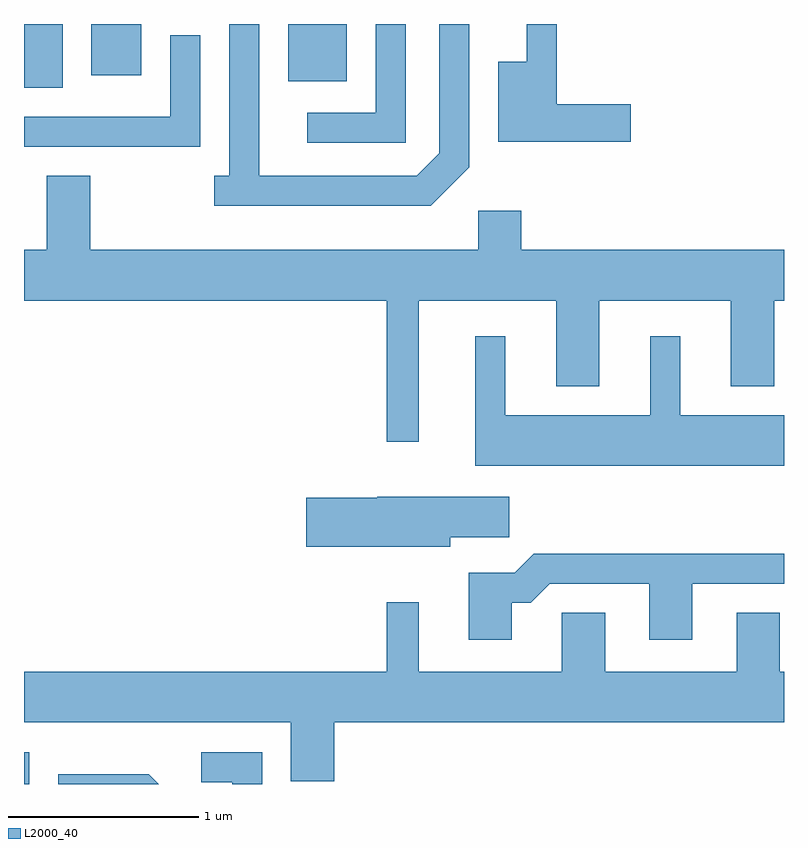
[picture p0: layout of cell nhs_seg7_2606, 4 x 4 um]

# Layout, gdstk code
import gdstk
lib = gdstk.Library(unit=1e-6, precision=1e-09)
def R(c, l, rs):  # rectangles x0, y0, x1, y1
    for r in rs: c.add(gdstk.rectangle(r[:2], r[2:], *l))
def P(c, l, *ps):  # polygons
    for p in ps: c.add(gdstk.Polygon(p, *l))
L2000_40 = (2000, 40)

nhs_seg7_2606 = lib.new_cell('nhs_seg7_2606')
R(nhs_seg7_2606, L2000_40, [(265.611,1676.252,265.639,1676.419), (265.611,1679.916,265.814,1680.252), (267.001,1679.951,267.309,1680.252), (265.966,1679.981,266.229,1680.252)])
P(nhs_seg7_2606, L2000_40, [(267.619,1680.252),(267.461,1680.252),(267.461,1679.784),(267.103,1679.784),(267.103,1679.626),(267.619,1679.626)],
  [(268.804,1679.829),(268.414,1679.829),(268.414,1680.252),(268.256,1680.252),(268.256,1680.054),(268.106,1680.054),(268.106,1679.631),(268.804,1679.631)],
  [(267.954,1679.499),(267.954,1680.252),(267.796,1680.252),(267.796,1679.572),(267.679,1679.454),(266.849,1679.454),(266.849,1680.252),(266.691,1680.252),(266.691,1679.454),(266.613,1679.454),(266.613,1679.296),(267.752,1679.296)],
  [(266.539,1680.193),(266.381,1680.193),(266.381,1679.764),(265.611,1679.764),(265.611,1679.606),(266.539,1679.606)],
  [(267.689,1678.796),(268.411,1678.796),(268.411,1678.346),(268.639,1678.346),(268.639,1678.796),(269.331,1678.796),(269.331,1678.346),(269.559,1678.346),(269.559,1678.796),(269.611,1678.796),(269.611,1679.064),(268.229,1679.064),(268.229,1679.269),(268.001,1679.269),(268.001,1679.064),(265.959,1679.064),(265.959,1679.454),(265.731,1679.454),(265.731,1679.064),(265.611,1679.064),(265.611,1678.796),(267.521,1678.796),(267.521,1678.053),(267.689,1678.053)],
  [(269.611,1678.194),(269.064,1678.194),(269.064,1678.608),(268.906,1678.608),(268.906,1678.194),(268.144,1678.194),(268.144,1678.608),(267.986,1678.608),(267.986,1677.926),(269.611,1677.926)],
  [(267.854,1677.551),(268.164,1677.551),(268.164,1677.764),(267.47,1677.764),(267.47,1677.759),(267.096,1677.759),(267.096,1677.501),(267.854,1677.501)],
  [(268.179,1677.206),(268.277,1677.206),(268.377,1677.306),(268.901,1677.306),(268.901,1677.011),(269.129,1677.011),(269.129,1677.306),(269.611,1677.306),(269.611,1677.464),(268.294,1677.464),(268.194,1677.364),(267.951,1677.364),(267.951,1677.011),(268.179,1677.011)],
  [(267.244,1676.576),(269.611,1676.576),(269.611,1676.844),(269.589,1676.844),(269.589,1677.154),(269.361,1677.154),(269.361,1676.844),(268.669,1676.844),(268.669,1677.154),(268.441,1677.154),(268.441,1676.844),(267.689,1676.844),(267.689,1677.208),(267.521,1677.208),(267.521,1676.844),(265.611,1676.844),(265.611,1676.576),(267.016,1676.576),(267.016,1676.266),(267.244,1676.266)],
  [(266.864,1676.419),(266.543,1676.419),(266.543,1676.261),(266.706,1676.261),(266.706,1676.252),(266.864,1676.252)],
  [(266.267,1676.304),(265.791,1676.304),(265.791,1676.252),(266.319,1676.252)])

lib.write_gds('nhs_seg7_2606.gds')
